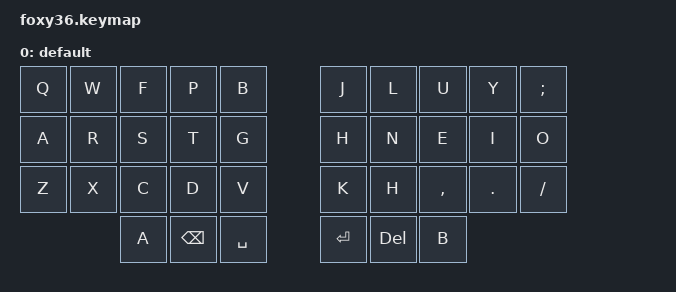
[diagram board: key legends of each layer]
#include <dt-bindings/zmk/keys.h>
#include <behaviors.dtsi>

/ {
    keymap {
        compatible = "zmk,keymap";
        default {
            bindings = <
                &kp Q &kp W &kp F    &kp P                      &kp B   &kp J      &kp L &kp U     &kp Y      &kp SEMICOLON
                &kp A &kp R &kp S    &kp T                      &kp G   &kp H      &kp N &kp E     &kp I      &kp O
                &kp Z &kp X &kp C    &kp D                      &kp V   &kp K      &kp H &kp COMMA &kp PERIOD &kp FSLH
                            &kp A    &kp BACKSPACE &kp SPACE    &kp RET &kp DELETE &kp B
            >;
        };
    }
};
